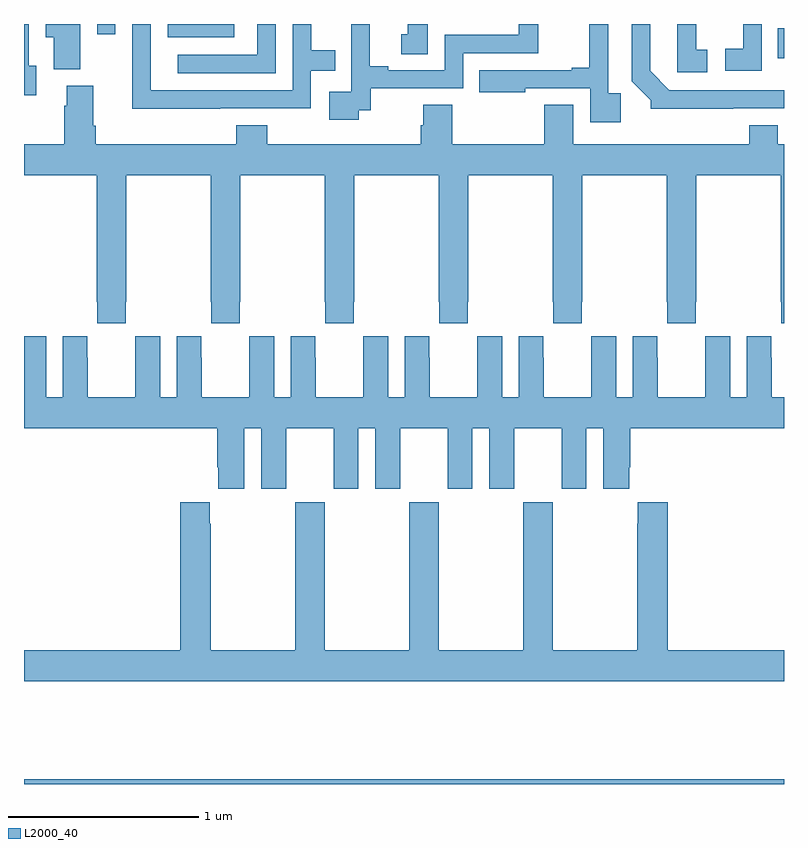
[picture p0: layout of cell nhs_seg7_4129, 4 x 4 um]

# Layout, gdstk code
import gdstk
lib = gdstk.Library(unit=1e-6, precision=1e-09)
def R(c, l, rs):  # rectangles x0, y0, x1, y1
    for r in rs: c.add(gdstk.rectangle(r[:2], r[2:], *l))
def P(c, l, *ps):  # polygons
    for p in ps: c.add(gdstk.Polygon(p, *l))
L2000_40 = (2000, 40)

nhs_seg7_4129 = lib.new_cell('nhs_seg7_4129')
R(nhs_seg7_4129, L2000_40, [(371,1076,375,1076.024), (374.968,1079.819,375,1079.977), (371.756,1079.93,372.106,1080), (371.385,1079.946,371.481,1080)])
P(nhs_seg7_4129, L2000_40, [(372.762,1079.547),(372.824,1079.547),(372.824,1079.661),(373.311,1079.661),(373.311,1079.847),(373.706,1079.847),(373.706,1080),(373.605,1080),(373.605,1079.943),(373.215,1079.943),(373.215,1079.757),(372.916,1079.757),(372.916,1079.777),(372.82,1079.777),(372.82,1080),(372.722,1080),(372.722,1079.947),(372.723,1079.947),(372.723,1079.643),(372.606,1079.643),(372.606,1079.496),(372.762,1079.496)],
  [(374.883,1080),(374.785,1080),(374.785,1079.87),(374.691,1079.87),(374.691,1079.754),(374.883,1079.754)],
  [(373.126,1080),(373.019,1080),(373.019,1079.946),(372.986,1079.946),(372.986,1079.842),(373.126,1079.842)],
  [(374.141,1079.635),(374.076,1079.635),(374.076,1080),(373.975,1080),(373.975,1079.77),(373.883,1079.77),(373.883,1079.757),(373.396,1079.757),(373.396,1079.642),(373.639,1079.642),(373.639,1079.661),(373.98,1079.661),(373.98,1079.484),(374.141,1079.484)],
  [(371.065,1079.781),(371.025,1079.781),(371.025,1080),(371,1080),(371,1079.625),(371.065,1079.625)],
  [(372.324,1080),(372.228,1080),(372.228,1079.838),(371.808,1079.838),(371.808,1079.742),(372.324,1079.742)],
  [(371.296,1080),(371.114,1080),(371.114,1079.93),(371.156,1079.93),(371.156,1079.761),(371.296,1079.761)],
  [(374.732,1079.556),(375,1079.556),(375,1079.652),(374.397,1079.652),(374.296,1079.753),(374.296,1080),(374.199,1080),(374.199,1079.698),(374.298,1079.599),(374.298,1079.555),(374.732,1079.555)],
  [(372.032,1079.556),(372.51,1079.556),(372.51,1079.754),(372.638,1079.754),(372.638,1079.863),(372.511,1079.863),(372.511,1080),(372.414,1080),(372.414,1079.652),(371.667,1079.652),(371.667,1080),(371.571,1080),(371.571,1079.858),(371.57,1079.858),(371.57,1079.555),(372.032,1079.555)],
  [(374.596,1079.865),(374.538,1079.865),(374.538,1080),(374.438,1080),(374.438,1079.745),(374.596,1079.745)],
  [(371.535,1078.537),(371.538,1078.537),(371.538,1079.204),(371.983,1079.204),(371.983,1078.537),(371.985,1078.537),(371.985,1078.425),(372.135,1078.425),(372.135,1078.537),(372.138,1078.537),(372.138,1079.204),(372.583,1079.204),(372.583,1078.537),(372.585,1078.537),(372.585,1078.425),(372.735,1078.425),(372.735,1078.537),(372.738,1078.537),(372.738,1079.204),(373.183,1079.204),(373.183,1078.537),(373.185,1078.537),(373.185,1078.425),(373.335,1078.425),(373.335,1078.537),(373.338,1078.537),(373.338,1079.204),(373.783,1079.204),(373.783,1078.537),(373.785,1078.537),(373.785,1078.425),(373.935,1078.425),(373.935,1078.537),(373.938,1078.537),(373.938,1079.204),(374.383,1079.204),(374.383,1078.537),(374.385,1078.537),(374.385,1078.425),(374.535,1078.425),(374.535,1078.537),(374.538,1078.537),(374.538,1079.204),(374.983,1079.204),(374.983,1078.537),(374.985,1078.537),(374.985,1078.425),(375,1078.425),(375,1079.368),(374.968,1079.368),(374.968,1079.467),(374.816,1079.467),(374.816,1079.368),(373.891,1079.368),(373.891,1079.576),(373.739,1079.576),(373.739,1079.368),(373.253,1079.368),(373.253,1079.576),(373.1,1079.576),(373.1,1079.466),(373.088,1079.466),(373.088,1079.368),(372.281,1079.368),(372.281,1079.467),(372.116,1079.467),(372.116,1079.368),(371.378,1079.368),(371.378,1079.464),(371.365,1079.464),(371.365,1079.676),(371.225,1079.676),(371.225,1079.57),(371.213,1079.57),(371.213,1079.368),(371,1079.368),(371,1079.204),(371.383,1079.204),(371.383,1078.537),(371.385,1078.537),(371.385,1078.425),(371.535,1078.425)],
  [(372.848,1077.555),(372.979,1077.555),(372.979,1077.872),(373.229,1077.872),(373.229,1077.555),(373.36,1077.555),(373.36,1077.872),(373.448,1077.872),(373.448,1077.555),(373.579,1077.555),(373.579,1077.872),(373.829,1077.872),(373.829,1077.555),(373.96,1077.555),(373.96,1077.872),(374.048,1077.872),(374.048,1077.555),(374.185,1077.555),(374.185,1077.667),(374.192,1077.667),(374.192,1077.872),(375,1077.872),(375,1078.036),(374.935,1078.036),(374.935,1078.244),(374.934,1078.244),(374.934,1078.357),(374.804,1078.357),(374.804,1078.036),(374.716,1078.036),(374.716,1078.357),(374.586,1078.357),(374.586,1078.244),(374.585,1078.244),(374.585,1078.036),(374.335,1078.036),(374.335,1078.244),(374.334,1078.244),(374.334,1078.357),(374.204,1078.357),(374.204,1078.036),(374.116,1078.036),(374.116,1078.357),(373.986,1078.357),(373.986,1078.244),(373.985,1078.244),(373.985,1078.036),(373.735,1078.036),(373.735,1078.244),(373.734,1078.244),(373.734,1078.357),(373.604,1078.357),(373.604,1078.036),(373.516,1078.036),(373.516,1078.357),(373.386,1078.357),(373.386,1078.244),(373.385,1078.244),(373.385,1078.036),(373.135,1078.036),(373.135,1078.244),(373.134,1078.244),(373.134,1078.357),(373.004,1078.357),(373.004,1078.036),(372.916,1078.036),(372.916,1078.357),(372.786,1078.357),(372.786,1078.244),(372.785,1078.244),(372.785,1078.036),(372.535,1078.036),(372.535,1078.244),(372.534,1078.244),(372.534,1078.357),(372.404,1078.357),(372.404,1078.036),(372.316,1078.036),(372.316,1078.357),(372.186,1078.357),(372.186,1078.244),(372.185,1078.244),(372.185,1078.036),(371.935,1078.036),(371.935,1078.244),(371.934,1078.244),(371.934,1078.357),(371.804,1078.357),(371.804,1078.036),(371.716,1078.036),(371.716,1078.357),(371.586,1078.357),(371.586,1078.244),(371.585,1078.244),(371.585,1078.036),(371.335,1078.036),(371.335,1078.244),(371.334,1078.244),(371.334,1078.357),(371.204,1078.357),(371.204,1078.036),(371.116,1078.036),(371.116,1078.357),(371,1078.357),(371,1077.872),(372.017,1077.872),(372.017,1077.667),(372.023,1077.667),(372.023,1077.555),(372.16,1077.555),(372.16,1077.872),(372.248,1077.872),(372.248,1077.555),(372.379,1077.555),(372.379,1077.872),(372.629,1077.872),(372.629,1077.555),(372.76,1077.555),(372.76,1077.872),(372.848,1077.872)],
  [(375,1076.704),(374.387,1076.704),(374.387,1077.484),(374.231,1077.484),(374.231,1077.371),(374.227,1077.371),(374.227,1076.704),(373.782,1076.704),(373.782,1077.484),(373.627,1077.484),(373.627,1076.704),(373.182,1076.704),(373.182,1077.484),(373.027,1077.484),(373.027,1076.704),(372.582,1076.704),(372.582,1077.484),(372.427,1077.484),(372.427,1076.704),(371.982,1076.704),(371.982,1077.371),(371.977,1077.371),(371.977,1077.484),(371.822,1077.484),(371.822,1076.704),(371,1076.704),(371,1076.54),(375,1076.54)])

lib.write_gds('nhs_seg7_4129.gds')
